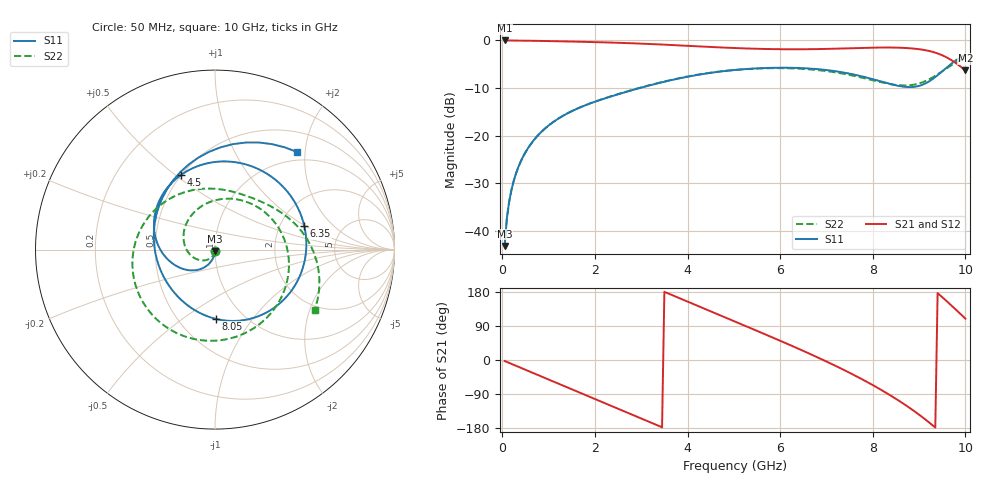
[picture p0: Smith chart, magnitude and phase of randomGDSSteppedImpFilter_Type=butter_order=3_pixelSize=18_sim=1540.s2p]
! freq	dB(S11)	phase(S11)	dB(S12)	phase(S12)
!  dB(S21)	phase(S21)	dB(S22)	phase(S22)
!S-par simulation data
#  GHz  S  DB  R 50
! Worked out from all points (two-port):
!   200 points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, 50 MHz to 10 GHz, reference 50 ohm
!   highest |S21| = -0.01 dB at 50 MHz (marker M1); lowest = -6.3 dB at 10 GHz (marker M2)
!   |S21| within 3 dB of the highest: start of sweep to 9.474 GHz
!   lowest |S11| = -43.2 dB at 50 MHz (marker M3), VSWR 1.01, Z = 50 - j0.693 ohm
!   |S11| at or under -10 dB: start of sweep to 2.968 GHz
!   |S22| runs from -43.2 to -3.8 dB; largest |S21 - S12| = 0
!   S11 on the Smith chart (normalised r, x): 50 MHz: 1.00, -0.01; 4.5 GHz: 0.50, +0.52; 6.35 GHz: 2.72, +0.98; 8.05 GHz: 0.75, -0.68; 10 GHz: 0.84, +1.85
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0.05  -43.19 -90.8  -0.01 -2.6  -0.01 -2.6  -43.21 -92.5
0.1  -37.23 -92.8  -0.01 -5.2  -0.01 -5.2  -37.26 -96.2
0.2  -31.29 -96.7  -0.02 -10.4  -0.02 -10.4  -31.32 -103.6
0.5  -23.49 -107.7  -0.05 -25.8  -0.05 -25.8  -23.52 -124.9
1.15  -16.80 -129.4  -0.16 -59.2  -0.16 -59.2  -16.80 -170.6
1.75  -13.79 -147.7  -0.29 -89.9  -0.29 -89.9  -13.77 146.0
2.2  -12.22 -160.6  -0.40 -112.9  -0.40 -112.9  -12.18 112.9
2.65  -10.87 -173.8  -0.54 -136.1  -0.54 -136.1  -10.83 79.8
3.4  -8.91 161.2  -0.84 -174.9  -0.84 -174.9  -8.85 27.5
3.9  -7.82 141.5  -1.08 159.2  -1.08 159.2  -7.76 -4.1
4.5  -6.80 114.6  -1.38 128.4  -1.38 128.4  -6.77 -38.4
5.05  -6.18 87.2  -1.61 100.2  -1.61 100.2  -6.17 -66.9
5.7  -5.79 52.1  -1.80 66.6  -1.80 66.6  -5.84 -98.4
6.35  -5.77 15.0  -1.86 32.1  -1.86 32.1  -5.91 -129.6
6.7  -5.94 -5.6  -1.84 13.0  -1.84 13.0  -6.13 -147.1
7.4  -6.79 -47.8  -1.68 -27.6  -1.68 -27.6  -7.06 173.8
8.05  -8.27 -89.4  -1.51 -69.7  -1.51 -69.7  -8.48 129.6
8.35  -9.07 -111.3  -1.49 -91.1  -1.49 -91.1  -9.12 106.3
8.8  -9.80 -153.2  -1.64 -126.7  -1.64 -126.7  -9.41 70.4
9.25  -8.39 149.1  -2.29 -168.1  -2.29 -168.1  -7.99 36.2
9.7  -4.87 86.8  -4.15 143.6  -4.15 143.6  -5.18 -1.6
10  -2.97 49.8  -6.31 109.4  -6.31 109.4  -3.75 -31.1
